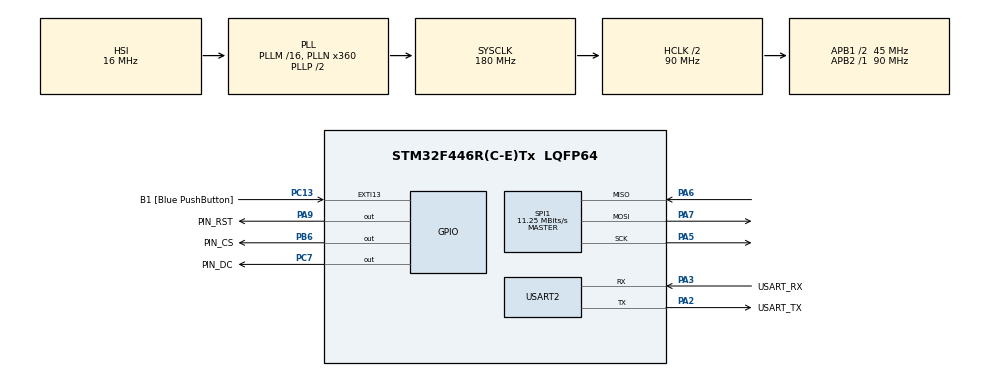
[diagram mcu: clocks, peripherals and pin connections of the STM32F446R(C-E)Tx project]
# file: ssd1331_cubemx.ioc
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Mcu.Family=STM32F4
Mcu.Name=STM32F446R(C-E)Tx
Mcu.Package=LQFP64
NVIC.PriorityGroup=NVIC_PRIORITYGROUP_0
PA13.GPIO_Label=TMS
PA13.Signal=SYS_JTMS-SWDIO
PA14.GPIO_Label=TCK
PA14.Signal=SYS_JTCK-SWCLK
PA2.GPIO_Label=USART_TX
PA2.Mode=Asynchronous
PA2.Signal=USART2_TX
PA3.GPIO_Label=USART_RX
PA3.Mode=Asynchronous
PA3.Signal=USART2_RX
PA5.Mode=Full_Duplex_Master
PA5.Signal=SPI1_SCK
PA6.Mode=Full_Duplex_Master
PA6.Signal=SPI1_MISO
PA7.Mode=Full_Duplex_Master
PA7.Signal=SPI1_MOSI
PA9.GPIO_Label=PIN_RST
PA9.PinState=GPIO_PIN_SET
PA9.Signal=GPIO_Output
PB3.GPIO_Label=SWO
PB3.Signal=SYS_JTDO-SWO
PB6.GPIO_Label=PIN_CS
PB6.PinState=GPIO_PIN_SET
PB6.Signal=GPIO_Output
PC13.GPIO_Label=B1 [Blue PushButton]
PC13.GPIO_ModeDefaultEXTI=GPIO_MODE_EVT_RISING
PC13.Signal=GPXTI13
PC14-OSC32_IN.Signal=RCC_OSC32_IN
PC15-OSC32_OUT.Signal=RCC_OSC32_OUT
PC7.GPIO_Label=PIN_DC
PC7.PinState=GPIO_PIN_SET
PC7.Signal=GPIO_Output
PH0-OSC_IN.Signal=RCC_OSC_IN
PH1-OSC_OUT.Signal=RCC_OSC_OUT
ProjectManager.HeapSize=0x400
ProjectManager.StackSize=0x400
ProjectManager.TargetToolchain=SW4STM32
RCC.AHBCLKDivider=RCC_SYSCLK_DIV2
RCC.AHBFreq_Value=90000000
RCC.APB1CLKDivider=RCC_HCLK_DIV2
RCC.APB1Freq_Value=45000000
RCC.APB1TimFreq_Value=90000000
RCC.APB2Freq_Value=90000000
RCC.APB2TimFreq_Value=90000000
RCC.CortexFreq_Value=90000000
RCC.FLatency-AdvancedSettings=FLASH_LATENCY_2
RCC.HCLKFreq_Value=90000000
RCC.HSE_VALUE=8000000
RCC.HSI_VALUE=16000000
RCC.LSE_VALUE=32768
RCC.PLLN=360
RCC.SYSCLKFreq_VALUE=180000000
RCC.SYSCLKSource=RCC_SYSCLKSOURCE_PLLCLK
RCC.USBFreq_Value=180000000
RCC.VCOOutputFreq_Value=360000000
SPI1.BaudRatePrescaler=SPI_BAUDRATEPRESCALER_8
SPI1.CalculateBaudRate=11.25 MBits/s
SPI1.Direction=SPI_DIRECTION_2LINES
SPI1.Mode=SPI_MODE_MASTER
SPI1.VirtualType=VM_MASTER
USART2.VirtualMode=VM_ASYNC
board=NUCLEO-F446RE

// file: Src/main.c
/**
  ******************************************************************************
  * @file           : main.c
  * @brief          : Main program body
  ******************************************************************************
  ** This notice applies to any and all portions of this file
  * that are not between comment pairs USER CODE BEGIN and
  * USER CODE END. Other portions of this file, whether
  * inserted by the user or by software development tools
  * are owned by their respective copyright owners.
  *
  * COPYRIGHT(c) 2018 STMicroelectronics
  *
  * Redistribution and use in source and binary forms, with or without modification,
  * are permitted provided that the following conditions are met:
  *   1. Redistributions of source code must retain the above copyright notice,
  *      this list of conditions and the following disclaimer.
  *   2. Redistributions in binary form must reproduce the above copyright notice,
  *      this list of conditions and the following disclaimer in the documentation
  *      and/or other materials provided with the distribution.
  *   3. Neither the name of STMicroelectronics nor the names of its contributors
  *      may be used to endorse or promote products derived from this software
  *      without specific prior written permission.
  *
  * THIS SOFTWARE IS PROVIDED BY THE COPYRIGHT HOLDERS AND CONTRIBUTORS "AS IS"
  * AND ANY EXPRESS OR IMPLIED WARRANTIES, INCLUDING, BUT NOT LIMITED TO, THE
  * IMPLIED WARRANTIES OF MERCHANTABILITY AND FITNESS FOR A PARTICULAR PURPOSE ARE
  * DISCLAIMED. IN NO EVENT SHALL THE COPYRIGHT HOLDER OR CONTRIBUTORS BE LIABLE
  * FOR ANY DIRECT, INDIRECT, INCIDENTAL, SPECIAL, EXEMPLARY, OR CONSEQUENTIAL
  * DAMAGES (INCLUDING, BUT NOT LIMITED TO, PROCUREMENT OF SUBSTITUTE GOODS OR
  * SERVICES; LOSS OF USE, DATA, OR PROFITS; OR BUSINESS INTERRUPTION) HOWEVER
  * CAUSED AND ON ANY THEORY OF LIABILITY, WHETHER IN CONTRACT, STRICT LIABILITY,
  * OR TORT (INCLUDING NEGLIGENCE OR OTHERWISE) ARISING IN ANY WAY OUT OF THE USE
  * OF THIS SOFTWARE, EVEN IF ADVISED OF THE POSSIBILITY OF SUCH DAMAGE.
  *
  ******************************************************************************
  */
#include "main.h"
#include "stm32f4xx_hal.h"

/* USER CODE BEGIN Includes */
#include "ucg_stm32.h"
/* USER CODE END Includes */

SPI_HandleTypeDef hspi1;

UART_HandleTypeDef huart2;

/* USER CODE BEGIN PV */
/* Private variables ---------------------------------------------------------*/
static ucg_t ucg;
/* USER CODE END PV */

void SystemClock_Config(void);
static void MX_GPIO_Init(void);
static void MX_SPI1_Init(void);
static void MX_USART2_UART_Init(void);

/* USER CODE BEGIN PFP */
/* Private function prototypes -----------------------------------------------*/
#ifdef __GNUC__
  /* With GCC/RAISONANCE, small printf (option LD Linker->Libraries->Small printf
     set to 'Yes') calls __io_putchar() */
  #define PUTCHAR_PROTOTYPE int __io_putchar(int ch)
  #define GETCHAR_PROTOTYPE int __io_getchar(void)
#else
  #define PUTCHAR_PROTOTYPE int fputc(int ch, FILE *f)
  #define GETCHAR_PROTOTYPE int fgetc(FILE *f)
#endif /* __GNUC__ */

/* USER CODE END PFP */

/* USER CODE BEGIN 0 */
/*
Function which responds for drawing
*/
unsigned char bitmap[2] = { 0x0f0, 0x0f0 };
void draw(void)
{
  int i;

  ucg_SetColor(&ucg, 0, 0, 0, 0);
  ucg_DrawBox(&ucg, 0, 0, 96, 64);

  ucg_SetColor(&ucg, 0, 255, 0, 0);
  ucg_SetFont(&ucg,ucg_font_profont10_8f);//set current font
  ucg_DrawString(&ucg, 2, 12, 0, "Hello!");//write string - you set coordinates and string

  ucg_DrawBitmapLine(&ucg, 9,0, 0,16, bitmap);
  ucg_DrawBitmapLine(&ucg, 10,1, 0,16, bitmap);

  ucg_DrawBitmapLine(&ucg, 0,9, 1,16, bitmap);
  ucg_DrawBitmapLine(&ucg, 1,10, 1,16, bitmap);

  for( i = 0; i < ucg_GetWidth(&ucg); i+= 2 )
    ucg_DrawPixel(&ucg, i, 30);
  for( i = 0; i < ucg_GetHeight(&ucg); i+= 2 )
    ucg_DrawPixel(&ucg, 30, i);

  ucg_SetClipRange(&ucg, 10, 10, 25, 25);

  ucg_SetColor(&ucg, 0, 0, 255, 0);
  for( i = 1; i < ucg_GetWidth(&ucg); i+= 2 )
    ucg_DrawPixel(&ucg, i, 30);
  for( i = 1; i < ucg_GetHeight(&ucg); i+= 2 )
    ucg_DrawPixel(&ucg, 30, i);

  ucg_SetColor(&ucg, 0, 80, 80, 255);

  ucg_DrawHLine(&ucg, 8, 9, 5);
  ucg_DrawHLine(&ucg, 8, 10, 5);
  ucg_DrawHLine(&ucg, 8, 11, 5);
  ucg_DrawHLine(&ucg, 8, 12, 100);

  ucg_DrawHLine(&ucg, 12, 13, 5);
  ucg_DrawHLine(&ucg, 12, 14, 100);

  ucg_DrawHLine(&ucg, 2, 15, 5);
  ucg_DrawHLine(&ucg, 40, 16, 5);

  ucg_DrawHRLine(&ucg, 12, 17, 1);
  ucg_DrawHRLine(&ucg, 12, 18, 2);
  ucg_DrawHRLine(&ucg, 12, 19, 3);
  ucg_DrawHRLine(&ucg, 12, 20, 4);

  ucg_DrawHRLine(&ucg, 36, 17, 1);
  ucg_DrawHRLine(&ucg, 36, 18, 2);

  ucg_DrawBitmapLine(&ucg, 9,22, 0,16, bitmap);
  ucg_DrawBitmapLine(&ucg, 10,23, 0,16, bitmap);

  ucg_SetClipRange(&ucg, 70-9, 20-9, 20, 20);

  ucg_DrawGlyph(&ucg, 70, 20, 0, 'A');
  ucg_DrawGlyph(&ucg, 70, 20, 1, 'A');
  ucg_DrawGlyph(&ucg, 70, 20, 2, 'A');
  ucg_DrawGlyph(&ucg, 70, 20, 3, 'A');

  ucg_SetMaxClipRange(&ucg);
  ucg_SetColor(&ucg, 0, 255, 0, 0);
  ucg_SetColor(&ucg, 1, 0, 255, 0);

  ucg_SetColor(&ucg, 0, 255, 0, 0);
  ucg_SetColor(&ucg, 1, 0, 255, 0);
  ucg_SetColor(&ucg, 2, 255, 0, 255);
  ucg_SetColor(&ucg, 3, 0, 255, 255);

  ucg_DrawGradientLine(&ucg, 10, 40, 100, 0);
  ucg_DrawGradientBox(&ucg, 10, 43, 100, 20);

}

/* USER CODE END 0 */

int main(void)
{

  /* MCU Configuration----------------------------------------------------------*/

  /* Reset of all peripherals, Initializes the Flash interface and the Systick. */
  HAL_Init();

  /* Configure the system clock */
  SystemClock_Config();

  /* Initialize all configured peripherals */
  MX_GPIO_Init();
  MX_SPI1_Init();
  MX_USART2_UART_Init();
  /* USER CODE BEGIN 2 */
  printf("Hello stm32\r\n");
  ucg_Init(&ucg, ucg_dev_ssd1331_18x96x64_univision, ucg_ext_ssd1331_18, ucg_com_ssd1331_hw_spi_fn); //here we init our ucglib driver
  ucg_SetFontMode(&ucg, 1);

  draw();
  /* USER CODE END 2 */

  /* Infinite loop */
  while (1)
  {

  /* USER CODE BEGIN 3 */
    /* Insert a 100ms delay */
    HAL_Delay(100);
  }
  /* USER CODE END 3 */

}

void SystemClock_Config(void)
{

  RCC_OscInitTypeDef RCC_OscInitStruct;
  RCC_ClkInitTypeDef RCC_ClkInitStruct;

    /**Configure the main internal regulator output voltage
    */
  __HAL_RCC_PWR_CLK_ENABLE();

  __HAL_PWR_VOLTAGESCALING_CONFIG(PWR_REGULATOR_VOLTAGE_SCALE3);

    /**Initializes the CPU, AHB and APB busses clocks
    */
  RCC_OscInitStruct.OscillatorType = RCC_OSCILLATORTYPE_HSI;
  RCC_OscInitStruct.HSIState = RCC_HSI_ON;
  RCC_OscInitStruct.HSICalibrationValue = 16;
  RCC_OscInitStruct.PLL.PLLState = RCC_PLL_ON;
  RCC_OscInitStruct.PLL.PLLSource = RCC_PLLSOURCE_HSI;
  RCC_OscInitStruct.PLL.PLLM = 16;
  RCC_OscInitStruct.PLL.PLLN = 360;
  RCC_OscInitStruct.PLL.PLLP = RCC_PLLP_DIV2;
  RCC_OscInitStruct.PLL.PLLQ = 2;
  RCC_OscInitStruct.PLL.PLLR = 2;
  if (HAL_RCC_OscConfig(&RCC_OscInitStruct) != HAL_OK)
  {
    _Error_Handler(__FILE__, __LINE__);
  }

    /**Initializes the CPU, AHB and APB busses clocks
    */
  RCC_ClkInitStruct.ClockType = RCC_CLOCKTYPE_HCLK|RCC_CLOCKTYPE_SYSCLK
                              |RCC_CLOCKTYPE_PCLK1|RCC_CLOCKTYPE_PCLK2;
  RCC_ClkInitStruct.SYSCLKSource = RCC_SYSCLKSOURCE_PLLCLK;
  RCC_ClkInitStruct.AHBCLKDivider = RCC_SYSCLK_DIV2;
  RCC_ClkInitStruct.APB1CLKDivider = RCC_HCLK_DIV2;
  RCC_ClkInitStruct.APB2CLKDivider = RCC_HCLK_DIV1;

  if (HAL_RCC_ClockConfig(&RCC_ClkInitStruct, FLASH_LATENCY_2) != HAL_OK)
  {
    _Error_Handler(__FILE__, __LINE__);
  }

    /**Configure the Systick interrupt time
    */
  HAL_SYSTICK_Config(HAL_RCC_GetHCLKFreq()/1000);

    /**Configure the Systick
    */
  HAL_SYSTICK_CLKSourceConfig(SYSTICK_CLKSOURCE_HCLK);

  /* SysTick_IRQn interrupt configuration */
  HAL_NVIC_SetPriority(SysTick_IRQn, 0, 0);
}

/* SPI1 init function */
static void MX_SPI1_Init(void)
{

  /* SPI1 parameter configuration*/
  hspi1.Instance = SPI1;
  hspi1.Init.Mode = SPI_MODE_MASTER;
  hspi1.Init.Direction = SPI_DIRECTION_2LINES;
  hspi1.Init.DataSize = SPI_DATASIZE_8BIT;
  hspi1.Init.CLKPolarity = SPI_POLARITY_LOW;
  hspi1.Init.CLKPhase = SPI_PHASE_1EDGE;
  hspi1.Init.NSS = SPI_NSS_SOFT;
  hspi1.Init.BaudRatePrescaler = SPI_BAUDRATEPRESCALER_8;
  hspi1.Init.FirstBit = SPI_FIRSTBIT_MSB;
  hspi1.Init.TIMode = SPI_TIMODE_DISABLE;
  hspi1.Init.CRCCalculation = SPI_CRCCALCULATION_DISABLE;
  hspi1.Init.CRCPolynomial = 10;
  if (HAL_SPI_Init(&hspi1) != HAL_OK)
  {
    _Error_Handler(__FILE__, __LINE__);
  }

}

/* USART2 init function */
static void MX_USART2_UART_Init(void)
{

  huart2.Instance = USART2;
  huart2.Init.BaudRate = 115200;
  huart2.Init.WordLength = UART_WORDLENGTH_8B;
  huart2.Init.StopBits = UART_STOPBITS_1;
  huart2.Init.Parity = UART_PARITY_NONE;
  huart2.Init.Mode = UART_MODE_TX_RX;
  huart2.Init.HwFlowCtl = UART_HWCONTROL_NONE;
  huart2.Init.OverSampling = UART_OVERSAMPLING_16;
  if (HAL_UART_Init(&huart2) != HAL_OK)
  {
    _Error_Handler(__FILE__, __LINE__);
  }

}

/** Configure pins as
        * Analog
        * Input
        * Output
        * EVENT_OUT
        * EXTI
*/
static void MX_GPIO_Init(void)
{

  GPIO_InitTypeDef GPIO_InitStruct;

  /* GPIO Ports Clock Enable */
  __HAL_RCC_GPIOC_CLK_ENABLE();
  __HAL_RCC_GPIOH_CLK_ENABLE();
  __HAL_RCC_GPIOA_CLK_ENABLE();
  __HAL_RCC_GPIOB_CLK_ENABLE();

  /*Configure GPIO pin Output Level */
  HAL_GPIO_WritePin(PIN_DC_GPIO_Port, PIN_DC_Pin, GPIO_PIN_SET);

  /*Configure GPIO pin Output Level */
  HAL_GPIO_WritePin(PIN_RST_GPIO_Port, PIN_RST_Pin, GPIO_PIN_SET);

  /*Configure GPIO pin Output Level */
  HAL_GPIO_WritePin(PIN_CS_GPIO_Port, PIN_CS_Pin, GPIO_PIN_SET);

  /*Configure GPIO pin : B1_Pin */
  GPIO_InitStruct.Pin = B1_Pin;
  GPIO_InitStruct.Mode = GPIO_MODE_EVT_RISING;
  GPIO_InitStruct.Pull = GPIO_NOPULL;
  HAL_GPIO_Init(B1_GPIO_Port, &GPIO_InitStruct);

  /*Configure GPIO pin : PIN_DC_Pin */
  GPIO_InitStruct.Pin = PIN_DC_Pin;
  GPIO_InitStruct.Mode = GPIO_MODE_OUTPUT_PP;
  GPIO_InitStruct.Pull = GPIO_NOPULL;
  GPIO_InitStruct.Speed = GPIO_SPEED_FREQ_LOW;
  HAL_GPIO_Init(PIN_DC_GPIO_Port, &GPIO_InitStruct);

  /*Configure GPIO pin : PIN_RST_Pin */
  GPIO_InitStruct.Pin = PIN_RST_Pin;
  GPIO_InitStruct.Mode = GPIO_MODE_OUTPUT_PP;
  GPIO_InitStruct.Pull = GPIO_NOPULL;
  GPIO_InitStruct.Speed = GPIO_SPEED_FREQ_LOW;
  HAL_GPIO_Init(PIN_RST_GPIO_Port, &GPIO_InitStruct);

  /*Configure GPIO pin : PIN_CS_Pin */
  GPIO_InitStruct.Pin = PIN_CS_Pin;
  GPIO_InitStruct.Mode = GPIO_MODE_OUTPUT_PP;
  GPIO_InitStruct.Pull = GPIO_NOPULL;
  GPIO_InitStruct.Speed = GPIO_SPEED_FREQ_LOW;
  HAL_GPIO_Init(PIN_CS_GPIO_Port, &GPIO_InitStruct);

}

/* USER CODE BEGIN 4 */
PUTCHAR_PROTOTYPE
{
  /* Place your implementation of fputc here */
  HAL_UART_Transmit(&huart2, (uint8_t *)&ch, 1, 0xFFFF);
  while (HAL_UART_GetState(&huart2) != HAL_UART_STATE_READY);

  return ch;
}

/* USER CODE END 4 */

void _Error_Handler(char *file, int line)
{
  while(1)
  {
  }
}

/************************ (C) COPYRIGHT STMicroelectronics *****END OF FILE****/
